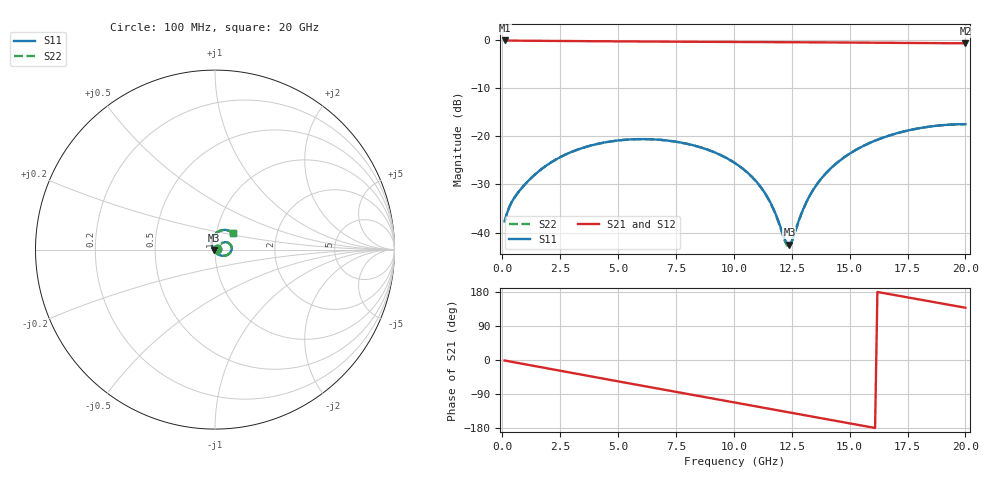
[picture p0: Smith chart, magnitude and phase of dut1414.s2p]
! Touchstone file exported from HFSS 2026.1.0
!  File:  C:/ffzhzh/LocalFiles/Ansys_Project_Files/temp_train_TSV_RDL_1414_1783353599_37376.aedt
!  Generated:  12:09:55 AM Jul  7, 2026
!  Design:  TSV_RDL
!  Project:  temp_train_TSV_RDL_1414_1783353599_37376
! Variables:
!  h_bsmrdl = 4.56um
!  h_ox = 20um
!  h_rdl = 5um
!  h_sub = 96.56um
!  h_tmrdl = 3.51um
!  h_tsv = 96.56um
!  h_via = 3um
!  l_bsmrdl = 273.85um
!  l_sub = 3493.39um
!  l_tmrdl = 527.82um
!  m_sub = 200um
!  pitch = 35.28um
!  r_tsv = 11.7um
!  s_tmrdl = 10um
!  w_bsmrdl = 27.73um
!  w_sub = 500um
!  w_tmrdl = 25.79um
!  x_tsv_center1 = 540.715um
!  x_tsv_center2 = 842.295um
!  x_tsv_center3 = 1395.905um
!  x_tsv_center4 = 1697.485um
!  x_tsv_center5 = 2251.095um
!  x_tsv_center6 = 2552.675um
# GHz S MA R 50.000000
! Terminal data exported
! Port[1] = TM_RDL1_1_T1
! Port[2] = TM_RDL5_1_T1
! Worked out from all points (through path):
!   200 points, 100 MHz to 20 GHz, reference 50 ohm
!   highest |S21| = -0.11 dB at 100 MHz (marker M1); lowest = -0.7 dB at 20 GHz (marker M2)
!   group delay of S21, straight-line fit = 30.8 ps
!   lowest |S11| = -42.5 dB at 12.4 GHz (marker M3), VSWR 1.02, Z = 49.3 - j0.319 ohm
!   |S11| at or under -10 dB: start of sweep to end of sweep
!   |S22| runs from -42.8 to -17.5 dB; largest |S21 - S12| = 5.7e-14
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0.1  0.01306 18.5  0.9877 -1.3  0.9877 -1.3  0.01306 18.5
! Gamma 0 0 0 0
! Port Impedance 50 0 50 0
0.3  0.01841 32.4  0.985 -3.6  0.985 -3.6  0.01841 32.4
0.5  0.02268 36.9  0.9833 -5.9  0.9833 -5.9  0.02268 36.9
1.3  0.03796 44.7  0.9802 -14.9  0.9802 -14.9  0.03796 44.7
2.3  0.05716 41.8  0.9766 -26.2  0.9766 -26.2  0.05716 41.9
3.5  0.07617 32.2  0.9718 -39.6  0.9718 -39.6  0.07615 32.2
5.2  0.09157 15.3  0.9654 -58.5  0.9654 -58.5  0.09154 15.3
6.8  0.09203 -1.9  0.9608 -76.3  0.9608 -76.3  0.09198 -1.8
8.6  0.07635 -22.3  0.957 -96.2  0.957 -96.2  0.07627 -22.2
10.1  0.05181 -41.3  0.9542 -112.8  0.9542 -112.8  0.05171 -41.0
10.8  0.03759 -52.1  0.9528 -120.6  0.9528 -120.6  0.03746 -51.7
11.3  0.02671 -62.3  0.9516 -126.1  0.9516 -126.1  0.02656 -61.7
11.7  0.01789 -75.1  0.9506 -130.6  0.9506 -130.6  0.0177 -74.3
12.2  0.008533 -117.1  0.9493 -136.2  0.9493 -136.2  0.008227 -116.6
12.4  0.007536 -154.6  0.9487 -138.4  0.9487 -138.4  0.007241 -155.5
13  0.01764 140.6  0.9468 -145.1  0.9468 -145.1  0.01759 139.6
13.4  0.02717 127.1  0.9454 -149.5  0.9454 -149.5  0.02717 126.4
14  0.04194 114.9  0.9433 -156.2  0.9433 -156.2  0.04197 114.5
14.7  0.05895 104.3  0.9405 -163.9  0.9405 -163.9  0.059 104.0
16.7  0.1016 79.7  0.9324 174.0  0.9324 174.0  0.1016 79.5
18.3  0.1245 61.6  0.9267 156.5  0.9267 156.5  0.1246 61.5
20  0.1336 43.1  0.9228 137.9  0.9228 137.9  0.1337 43.0
